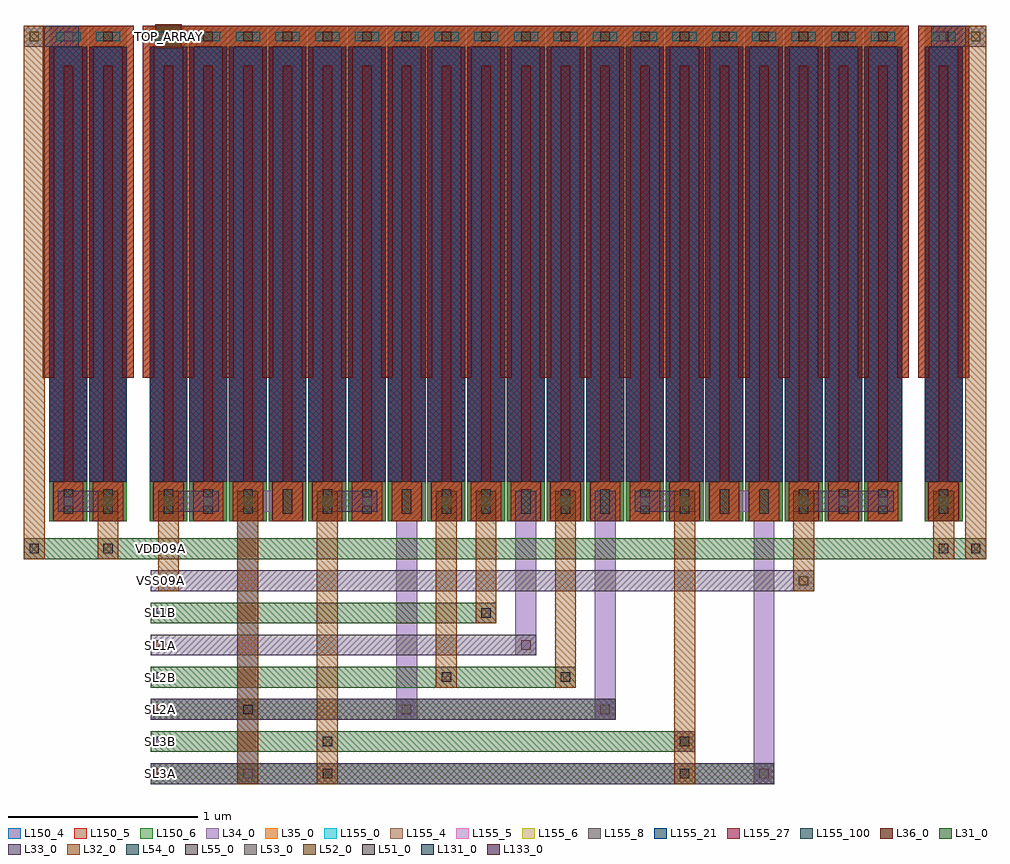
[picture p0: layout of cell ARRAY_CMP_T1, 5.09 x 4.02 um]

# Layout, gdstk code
from math import pi, radians
import gdstk
lib = gdstk.Library(unit=1e-6, precision=1e-09)
def R(c, l, rs):  # rectangles x0, y0, x1, y1
    for r in rs: c.add(gdstk.rectangle(r[:2], r[2:], *l))
def A(c, l, x, y, w, h, nx, ny, dx, dy):  # array of equal rectangles
    R(c, l, [(x+i*dx, y+j*dy, x+i*dx+w, y+j*dy+h) for i in range(nx) for j in range(ny)])
L31_0 = (31, 0)
L32_0 = (32, 0)
L33_0 = (33, 0)
L34_0 = (34, 0)
L35_0 = (35, 0)
L36_0 = (36, 0)
L51_0 = (51, 0)
L52_0 = (52, 0)
L53_0 = (53, 0)
L54_0 = (54, 0)
L55_0 = (55, 0)
L131_0 = (131, 0)
L133_0 = (133, 0)
L150_4 = (150, 4)
L150_5 = (150, 5)
L150_6 = (150, 6)
L155_0 = (155, 0)
L155_4 = (155, 4)
L155_5 = (155, 5)
L155_6 = (155, 6)
L155_8 = (155, 8)
L155_21 = (155, 21)
L155_27 = (155, 27)
L155_100 = (155, 100)

m5_m4_cdns_620993060076 = lib.new_cell('M5_M4_CDNS_620993060076')
R(m5_m4_cdns_620993060076, L34_0, [(-0.07,-0.105,0.07,0.105)])
R(m5_m4_cdns_620993060076, L35_0, [(-0.07,-0.105,0.07,0.105)])
R(m5_m4_cdns_620993060076, L54_0, [(-0.025,-0.065,0.025,0.065)])

m6_m5_cdns_620993060077 = lib.new_cell('M6_M5_CDNS_620993060077')
R(m6_m5_cdns_620993060077, L35_0, [(-0.07,-0.105,0.07,0.105)])
R(m6_m5_cdns_620993060077, L36_0, [(-0.055,-0.105,0.055,0.105)])
R(m6_m5_cdns_620993060077, L55_0, [(-0.025,-0.065,0.025,0.065)])

m5_m4_cdns_620993060078 = lib.new_cell('M5_M4_CDNS_620993060078')
R(m5_m4_cdns_620993060078, L34_0, [(-0.095,-0.055,0.095,0.055)])
R(m5_m4_cdns_620993060078, L35_0, [(-0.12,-0.055,0.12,0.055)])
R(m5_m4_cdns_620993060078, L54_0, [(-0.065,-0.025,0.065,0.025)])

m6_m5_cdns_620993060079 = lib.new_cell('M6_M5_CDNS_620993060079')
R(m6_m5_cdns_620993060079, L35_0, [(-0.055,-0.055,0.055,0.055)])
R(m6_m5_cdns_620993060079, L36_0, [(-0.055,-0.055,0.055,0.055)])
R(m6_m5_cdns_620993060079, L55_0, [(-0.025,-0.025,0.025,0.025)])

cu1f = lib.new_cell('CU1F')
R(cu1f, L34_0, [(0.02,0,0.18,0.21), (-0.035,2.51,0.235,2.62)])
R(cu1f, L35_0, [(0.02,0,0.18,0.21), (-0.035,2.51,0.235,2.62)])
R(cu1f, L36_0, [(0.02,0,0.18,0.21), (-0.035,2.51,0.235,2.62)])
R(cu1f, L150_4, [(0,0,0.2,2.62)])
R(cu1f, L150_5, [(0,0,0.2,2.62)])
R(cu1f, L150_6, [(0,0,0.2,2.62)])
R(cu1f, L155_0, [(0,0.21,0.2,2.51)])
R(cu1f, L155_4, [(0,0.21,0.2,2.51)])
R(cu1f, L155_5, [(0,0.21,0.2,2.51)])
R(cu1f, L155_6, [(0,0.21,0.2,2.51)])
R(cu1f, L155_8, [(0,0.21,0.2,2.51)])
R(cu1f, L155_21, [(0,0.21,0.2,2.51)])
R(cu1f, L155_27, [(0,0.21,0.2,2.51)])
R(cu1f, L155_100, [(0,0.21,0.2,2.51)])
cu1f.add(gdstk.FlexPath([(0.205,2.59),(0.205,0.76)], 0.06, ends=(0.03, 0), simple_path=True, layer=34, datatype=0))  # L34_0
cu1f.add(gdstk.FlexPath([(0.1,2.41),(0.1,0)], 0.05, ends="flush", simple_path=True, layer=34, datatype=0))  # L34_0
cu1f.add(gdstk.FlexPath([(-0.005,2.59),(-0.005,0.76)], 0.06, ends=(0.03, 0), simple_path=True, layer=34, datatype=0))  # L34_0
cu1f.add(gdstk.FlexPath([(0.205,0.76),(0.205,2.59)], 0.06, ends=(0, 0.03), simple_path=True, layer=35, datatype=0))  # L35_0
cu1f.add(gdstk.FlexPath([(0.1,2.41),(0.1,0)], 0.05, ends="flush", simple_path=True, layer=35, datatype=0))  # L35_0
cu1f.add(gdstk.FlexPath([(-0.005,0.76),(-0.005,2.59)], 0.06, ends=(0, 0.03), simple_path=True, layer=35, datatype=0))  # L35_0
cu1f.add(gdstk.FlexPath([(0.205,0.76),(0.205,2.59)], 0.06, ends=(0, 0.03), simple_path=True, layer=36, datatype=0))  # L36_0
cu1f.add(gdstk.FlexPath([(0.1,2.41),(0.1,0)], 0.05, ends="flush", simple_path=True, layer=36, datatype=0))  # L36_0
cu1f.add(gdstk.FlexPath([(-0.005,0.76),(-0.005,2.59)], 0.06, ends=(0, 0.03), simple_path=True, layer=36, datatype=0))  # L36_0
cu1f.add(gdstk.Reference(m5_m4_cdns_620993060076, (0.1,0.105), rotation=pi, x_reflection=True))
cu1f.add(gdstk.Reference(m6_m5_cdns_620993060077, (0.1,0.105), rotation=pi, x_reflection=True))
cu1f.add(gdstk.Reference(m5_m4_cdns_620993060078, (0.1,2.565)))
cu1f.add(gdstk.Reference(m6_m5_cdns_620993060079, (0.1,2.565)))

m2_m1_cdns_620993060070 = lib.new_cell('M2_M1_CDNS_620993060070')
R(m2_m1_cdns_620993060070, L31_0, [(-0.055,-0.055,0.055,0.055)])
R(m2_m1_cdns_620993060070, L32_0, [(-0.055,-0.055,0.055,0.055)])
R(m2_m1_cdns_620993060070, L51_0, [(-0.025,-0.025,0.025,0.025)])

m3_m2_cdns_620993060071 = lib.new_cell('M3_M2_CDNS_620993060071')
R(m3_m2_cdns_620993060071, L32_0, [(-0.055,-0.055,0.055,0.055)])
R(m3_m2_cdns_620993060071, L33_0, [(-0.055,-0.055,0.055,0.055)])
R(m3_m2_cdns_620993060071, L52_0, [(-0.025,-0.025,0.025,0.025)])

m4_m3_cdns_620993060072 = lib.new_cell('M4_M3_CDNS_620993060072')
R(m4_m3_cdns_620993060072, L33_0, [(-0.055,-0.055,0.055,0.055)])
R(m4_m3_cdns_620993060072, L34_0, [(-0.055,-0.055,0.055,0.055)])
R(m4_m3_cdns_620993060072, L53_0, [(-0.025,-0.025,0.025,0.025)])

m4_m3_cdns_620993060073 = lib.new_cell('M4_M3_CDNS_620993060073')
R(m4_m3_cdns_620993060073, L33_0, [(-0.07,-0.065,0.07,0.065)])
R(m4_m3_cdns_620993060073, L34_0, [(-0.055,-0.055,0.055,0.055)])
R(m4_m3_cdns_620993060073, L53_0, [(-0.025,-0.025,0.025,0.025)])

m3_m2_cdns_620993060074 = lib.new_cell('M3_M2_CDNS_620993060074')
R(m3_m2_cdns_620993060074, L32_0, [(-0.065,-0.06,0.065,0.06)])
R(m3_m2_cdns_620993060074, L33_0, [(-0.07,-0.065,0.07,0.065)])
R(m3_m2_cdns_620993060074, L52_0, [(-0.025,-0.025,0.025,0.025)])

m2_m1_cdns_620993060075 = lib.new_cell('M2_M1_CDNS_620993060075')
R(m2_m1_cdns_620993060075, L31_0, [(-0.055,-0.055,0.055,0.055)])
R(m2_m1_cdns_620993060075, L32_0, [(-0.065,-0.06,0.065,0.06)])
R(m2_m1_cdns_620993060075, L51_0, [(-0.025,-0.025,0.025,0.025)])

array_cmp_t1 = lib.new_cell('ARRAY_CMP_T1')
R(array_cmp_t1, L31_0, [(0.535,-1.39,3.835,-1.28), (0.535,-1.22,3.415,-1.11), (0.535,-1.05,2.995,-0.94), (0.535,-0.88,2.785,-0.77), (0.535,-0.54,2.365,-0.43), (-0.135,-0.2,4.955,-0.09), (0.56,2.5,0.7,2.63)])
R(array_cmp_t1, L32_0, [(0.995,-1.39,1.105,0.16), (1.415,-1.39,1.525,0.16), (3.305,-1.39,3.415,0.16), (2.045,-0.88,2.155,0.16), (2.675,-0.88,2.785,0.16), (2.255,-0.54,2.365,0.16), (0.575,-0.37,0.685,0.16), (3.935,-0.37,4.045,0.16), (-0.135,-0.2,-0.025,2.62), (0.255,-0.2,0.365,0.16), (4.675,-0.2,4.785,0.16), (4.845,-0.2,4.955,2.62)])
A(array_cmp_t1, L33_0, 2.045, 0, 0.11, 0.16, 5, 1, 0.21, 0)
R(array_cmp_t1, L33_0, [(0.535,-1.39,3.835,-1.28), (0.535,-1.05,2.995,-0.94), (0.535,-0.71,2.575,-0.6), (0.535,-0.37,4.045,-0.26), (4.675,0,4.785,0.16), (0.045,0.05,0.365,0.16), (0.575,0.05,0.895,0.16), (1.415,0.05,1.735,0.16), (3.095,0.05,3.415,0.16), (3.935,0.05,4.465,0.16), (-0.135,2.51,0.155,2.62), (4.665,2.51,4.955,2.62)])
R(array_cmp_t1, L34_0, [(0.995,-1.39,1.105,0.16), (3.725,-1.39,3.835,0.16), (1.835,-1.05,1.945,0.16), (2.885,-1.05,2.995,0.16), (2.465,-0.71,2.575,0.16), (0.995,0.05,1.315,0.16), (3.515,0.05,3.835,0.16)])
A(array_cmp_t1, L131_0, 0.565, -1.19, 0.05, 0.05, 1, 4, 0, 0.34)
R(array_cmp_t1, L131_0, [(0.605,2.54,0.655,2.59)])
A(array_cmp_t1, L133_0, 0.565, -1.36, 0.05, 0.05, 1, 4, 0, 0.34)
array_cmp_t1.add(gdstk.Reference(cu1f, (0,0)))
array_cmp_t1.add(gdstk.Reference(cu1f, (0.21,0)))
array_cmp_t1.add(gdstk.Reference(cu1f, (0.53,0)))
array_cmp_t1.add(gdstk.Reference(cu1f, (0.74,0)))
array_cmp_t1.add(gdstk.Reference(cu1f, (4.63,0)))
array_cmp_t1.add(gdstk.Reference(cu1f, (4.31,0)))
array_cmp_t1.add(gdstk.Reference(cu1f, (4.1,0)))
array_cmp_t1.add(gdstk.Reference(cu1f, (3.89,0)))
array_cmp_t1.add(gdstk.Reference(cu1f, (3.68,0)))
array_cmp_t1.add(gdstk.Reference(cu1f, (3.47,0)))
array_cmp_t1.add(gdstk.Reference(cu1f, (3.26,0)))
array_cmp_t1.add(gdstk.Reference(cu1f, (3.05,0)))
array_cmp_t1.add(gdstk.Reference(cu1f, (2.84,0)))
array_cmp_t1.add(gdstk.Reference(cu1f, (2.63,0)))
array_cmp_t1.add(gdstk.Reference(cu1f, (2.42,0)))
array_cmp_t1.add(gdstk.Reference(cu1f, (2.21,0)))
array_cmp_t1.add(gdstk.Reference(cu1f, (2,0)))
array_cmp_t1.add(gdstk.Reference(cu1f, (1.79,0)))
array_cmp_t1.add(gdstk.Reference(cu1f, (1.58,0)))
array_cmp_t1.add(gdstk.Reference(cu1f, (1.37,0)))
array_cmp_t1.add(gdstk.Reference(cu1f, (1.16,0)))
array_cmp_t1.add(gdstk.Reference(cu1f, (0.95,0)))
array_cmp_t1.add(gdstk.Reference(m2_m1_cdns_620993060070, (4.9,-0.145)))
array_cmp_t1.add(gdstk.Reference(m2_m1_cdns_620993060070, (-0.08,-0.145)))
array_cmp_t1.add(gdstk.Reference(m2_m1_cdns_620993060070, (3.36,-1.335)))
array_cmp_t1.add(gdstk.Reference(m2_m1_cdns_620993060070, (1.05,-0.995)))
array_cmp_t1.add(gdstk.Reference(m2_m1_cdns_620993060070, (2.1,-0.825)))
array_cmp_t1.add(gdstk.Reference(m2_m1_cdns_620993060070, (1.47,-1.335)))
array_cmp_t1.add(gdstk.Reference(m2_m1_cdns_620993060070, (4.73,-0.145)))
array_cmp_t1.add(gdstk.Reference(m2_m1_cdns_620993060070, (0.31,-0.145)))
array_cmp_t1.add(gdstk.Reference(m2_m1_cdns_620993060070, (2.31,-0.485)))
array_cmp_t1.add(gdstk.Reference(m2_m1_cdns_620993060070, (2.73,-0.825)))
array_cmp_t1.add(gdstk.Reference(m2_m1_cdns_620993060070, (1.47,-1.165)))
array_cmp_t1.add(gdstk.Reference(m2_m1_cdns_620993060070, (3.36,-1.165)))
array_cmp_t1.add(gdstk.Reference(m3_m2_cdns_620993060071, (4.9,2.565)))
array_cmp_t1.add(gdstk.Reference(m3_m2_cdns_620993060071, (-0.08,2.565)))
array_cmp_t1.add(gdstk.Reference(m3_m2_cdns_620993060071, (0.63,-0.315)))
array_cmp_t1.add(gdstk.Reference(m3_m2_cdns_620993060071, (3.36,-1.165)))
array_cmp_t1.add(gdstk.Reference(m3_m2_cdns_620993060071, (2.1,0.105)))
array_cmp_t1.add(gdstk.Reference(m3_m2_cdns_620993060071, (2.31,0.105)))
array_cmp_t1.add(gdstk.Reference(m3_m2_cdns_620993060071, (2.73,0.105)))
array_cmp_t1.add(gdstk.Reference(m3_m2_cdns_620993060071, (1.47,0.105)))
array_cmp_t1.add(gdstk.Reference(m3_m2_cdns_620993060071, (3.36,0.105)))
array_cmp_t1.add(gdstk.Reference(m3_m2_cdns_620993060071, (4.73,0.105)))
array_cmp_t1.add(gdstk.Reference(m3_m2_cdns_620993060071, (3.99,0.105)))
array_cmp_t1.add(gdstk.Reference(m3_m2_cdns_620993060071, (0.63,0.105)))
array_cmp_t1.add(gdstk.Reference(m3_m2_cdns_620993060071, (0.31,0.105)))
array_cmp_t1.add(gdstk.Reference(m3_m2_cdns_620993060071, (1.05,0.105)))
array_cmp_t1.add(gdstk.Reference(m3_m2_cdns_620993060071, (3.99,-0.315)))
array_cmp_t1.add(gdstk.Reference(m4_m3_cdns_620993060072, (3.78,-1.335)))
array_cmp_t1.add(gdstk.Reference(m4_m3_cdns_620993060072, (4.72,2.565), rotation=pi, x_reflection=True))
array_cmp_t1.add(gdstk.Reference(m4_m3_cdns_620993060072, (0.1,2.565)))
array_cmp_t1.add(gdstk.Reference(m4_m3_cdns_620993060072, (2.52,-0.655)))
array_cmp_t1.add(gdstk.Reference(m4_m3_cdns_620993060072, (2.1,0.105)))
array_cmp_t1.add(gdstk.Reference(m4_m3_cdns_620993060072, (1.05,0.105)))
array_cmp_t1.add(gdstk.Reference(m4_m3_cdns_620993060072, (2.31,0.105)))
array_cmp_t1.add(gdstk.Reference(m4_m3_cdns_620993060072, (1.68,0.105)))
array_cmp_t1.add(gdstk.Reference(m4_m3_cdns_620993060072, (2.73,0.105)))
array_cmp_t1.add(gdstk.Reference(m4_m3_cdns_620993060072, (1.05,-1.335)))
array_cmp_t1.add(gdstk.Reference(m4_m3_cdns_620993060072, (3.15,0.105)))
array_cmp_t1.add(gdstk.Reference(m4_m3_cdns_620993060072, (3.36,0.105)))
array_cmp_t1.add(gdstk.Reference(m4_m3_cdns_620993060072, (4.73,0.105)))
array_cmp_t1.add(gdstk.Reference(m4_m3_cdns_620993060072, (4.2,0.105)))
array_cmp_t1.add(gdstk.Reference(m4_m3_cdns_620993060072, (4.41,0.105)))
array_cmp_t1.add(gdstk.Reference(m4_m3_cdns_620993060072, (3.99,0.105)))
array_cmp_t1.add(gdstk.Reference(m4_m3_cdns_620993060072, (0.84,0.105)))
array_cmp_t1.add(gdstk.Reference(m4_m3_cdns_620993060072, (0.63,0.105)))
array_cmp_t1.add(gdstk.Reference(m4_m3_cdns_620993060072, (0.1,0.105)))
array_cmp_t1.add(gdstk.Reference(m4_m3_cdns_620993060072, (0.31,0.105)))
array_cmp_t1.add(gdstk.Reference(m4_m3_cdns_620993060072, (1.89,-0.995)))
array_cmp_t1.add(gdstk.Reference(m4_m3_cdns_620993060072, (2.94,-0.995)))
array_cmp_t1.add(gdstk.Reference(m4_m3_cdns_620993060072, (1.47,0.105)))
array_cmp_t1.add(gdstk.Reference(m4_m3_cdns_620993060073, (0.63,2.565)))
array_cmp_t1.add(gdstk.Reference(m3_m2_cdns_620993060074, (0.63,2.565)))
array_cmp_t1.add(gdstk.Reference(m2_m1_cdns_620993060075, (0.63,2.565)))
array_cmp_t1.add(gdstk.Label('SL3A', (0.59,-1.335), layer=133, texttype=0))
array_cmp_t1.add(gdstk.Label('SL1A', (0.59,-0.655), layer=133, texttype=0))
array_cmp_t1.add(gdstk.Label('VSS09A', (0.59,-0.315), layer=133, texttype=0))
array_cmp_t1.add(gdstk.Label('SL2A', (0.59,-0.995), layer=133, texttype=0))
array_cmp_t1.add(gdstk.Label('VDD09A', (0.59,-0.145), layer=131, texttype=0))
array_cmp_t1.add(gdstk.Label('SL3B', (0.59,-1.165), layer=131, texttype=0))
array_cmp_t1.add(gdstk.Label('SL1B', (0.59,-0.485), layer=131, texttype=0))
array_cmp_t1.add(gdstk.Label('SL2B', (0.59,-0.825), layer=131, texttype=0))
array_cmp_t1.add(gdstk.Label('TOP_ARRAY', (0.628,2.565), layer=131, texttype=0))

lib.write_gds('ARRAY_CMP_T1.gds')
